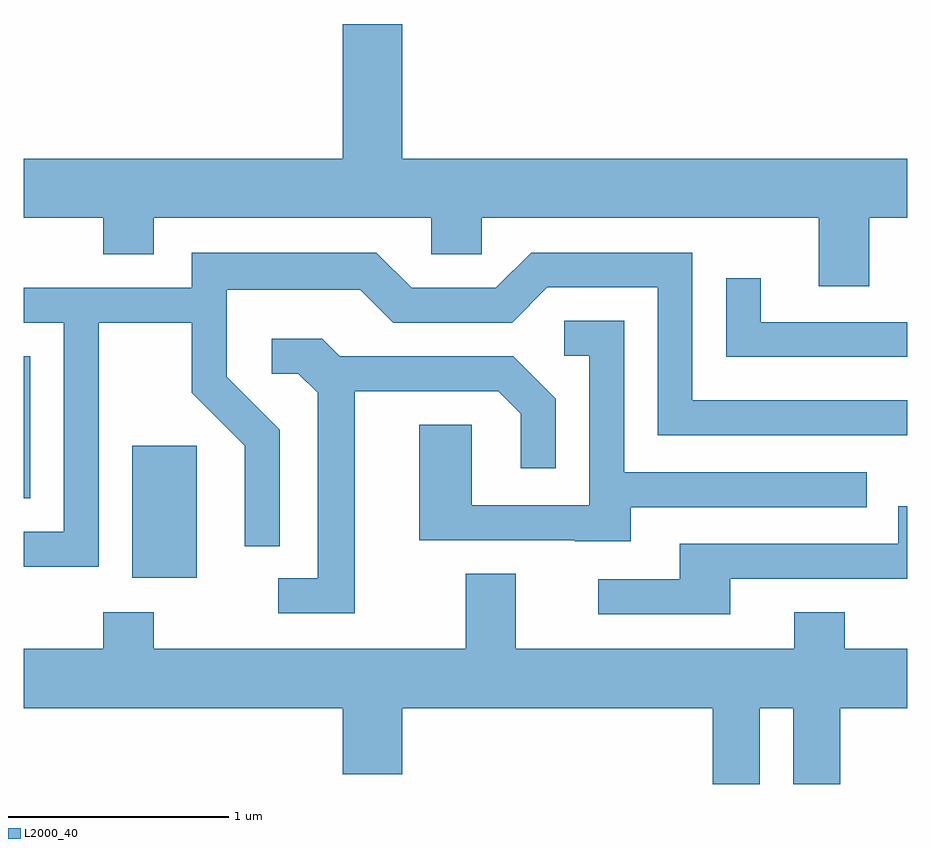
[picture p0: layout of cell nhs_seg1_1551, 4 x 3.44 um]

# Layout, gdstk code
import gdstk
lib = gdstk.Library(unit=1e-6, precision=1e-09)
def R(c, l, rs):  # rectangles x0, y0, x1, y1
    for r in rs: c.add(gdstk.rectangle(r[:2], r[2:], *l))
def P(c, l, *ps):  # polygons
    for p in ps: c.add(gdstk.Polygon(p, *l))
L2000_40 = (2000, 40)

nhs_seg1_1551 = lib.new_cell('nhs_seg1_1551')
R(nhs_seg1_1551, L2000_40, [(234.101,864.646,234.394,865.244), (233.611,865.006,233.639,865.649)])
P(nhs_seg1_1551, L2000_40, [(237.439,866.276),(237.611,866.276),(237.611,866.544),(235.324,866.544),(235.324,867.154),(235.056,867.154),(235.056,866.544),(233.611,866.544),(233.611,866.276),(233.971,866.276),(233.971,866.111),(234.199,866.111),(234.199,866.276),(235.456,866.276),(235.456,866.111),(235.684,866.111),(235.684,866.276),(237.211,866.276),(237.211,865.966),(237.439,865.966)],
  [(233.949,865.801),(234.371,865.801),(234.371,865.484),(234.611,865.244),(234.611,864.788),(234.769,864.788),(234.769,865.317),(234.529,865.557),(234.529,865.951),(235.134,865.951),(235.284,865.801),(235.822,865.801),(235.982,865.961),(236.481,865.961),(236.481,865.291),(237.611,865.291),(237.611,865.449),(236.639,865.449),(236.639,866.119),(235.909,866.119),(235.749,865.959),(235.367,865.959),(235.207,866.119),(234.371,866.119),(234.371,865.959),(233.611,865.959),(233.611,865.801),(233.791,865.801),(233.791,864.854),(233.611,864.854),(233.611,864.696),(233.949,864.696)],
  [(237.611,865.804),(236.949,865.804),(236.949,866.003),(236.791,866.003),(236.791,865.646),(237.611,865.646)],
  [(236.359,864.966),(237.428,864.966),(237.428,865.124),(236.329,865.124),(236.329,865.809),(236.058,865.809),(236.058,865.651),(236.171,865.651),(236.171,864.974),(235.639,864.974),(235.639,865.339),(235.401,865.339),(235.401,864.816),(236.105,864.816),(236.105,864.811),(236.359,864.811)],
  [(235.109,865.491),(235.759,865.491),(235.861,865.389),(235.861,865.143),(236.019,865.143),(236.019,865.457),(235.827,865.649),(235.042,865.649),(234.962,865.729),(234.733,865.729),(234.733,865.571),(234.854,865.571),(234.941,865.484),(234.941,864.644),(234.763,864.644),(234.763,864.486),(235.109,864.486)],
  [(236.809,864.641),(237.611,864.641),(237.611,864.969),(237.571,864.969),(237.571,864.799),(236.581,864.799),(236.581,864.639),(236.213,864.639),(236.213,864.481),(236.809,864.481)],
  [(236.944,864.056),(237.096,864.056),(237.096,863.712),(237.309,863.712),(237.309,864.056),(237.611,864.056),(237.611,864.324),(237.329,864.324),(237.329,864.489),(237.101,864.489),(237.101,864.324),(235.839,864.324),(235.839,864.664),(235.611,864.664),(235.611,864.324),(234.199,864.324),(234.199,864.489),(233.971,864.489),(233.971,864.324),(233.611,864.324),(233.611,864.056),(235.056,864.056),(235.056,863.756),(235.324,863.756),(235.324,864.056),(236.731,864.056),(236.731,863.712),(236.944,863.712)])

lib.write_gds('nhs_seg1_1551.gds')
